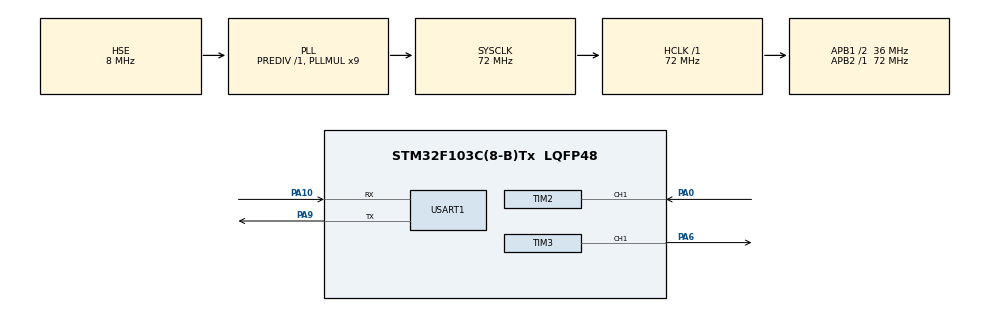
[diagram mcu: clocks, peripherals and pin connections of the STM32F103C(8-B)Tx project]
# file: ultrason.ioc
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Mcu.Family=STM32F1
Mcu.Name=STM32F103C(8-B)Tx
Mcu.Package=LQFP48
NVIC.PriorityGroup=NVIC_PRIORITYGROUP_4
NVIC.TIM2_IRQn=true\:0\:0\:false\:false\:true\:true\:true\:true
NVIC.USART1_IRQn=true\:0\:0\:false\:false\:true\:true\:true\:true
PA0-WKUP.Signal=S_TIM2_CH1_ETR
PA10.Mode=Asynchronous
PA10.Signal=USART1_RX
PA13.Mode=Serial_Wire
PA13.Signal=SYS_JTMS-SWDIO
PA14.Mode=Serial_Wire
PA14.Signal=SYS_JTCK-SWCLK
PA6.Signal=S_TIM3_CH1
PA9.Mode=Asynchronous
PA9.Signal=USART1_TX
PD0-OSC_IN.Mode=HSE-External-Oscillator
PD0-OSC_IN.Signal=RCC_OSC_IN
PD1-OSC_OUT.Mode=HSE-External-Oscillator
PD1-OSC_OUT.Signal=RCC_OSC_OUT
ProjectManager.HeapSize=0x200
ProjectManager.StackSize=0x400
ProjectManager.TargetToolchain=STM32CubeIDE
RCC.AHBFreq_Value=72000000
RCC.APB1CLKDivider=RCC_HCLK_DIV2
RCC.APB1Freq_Value=36000000
RCC.APB1TimFreq_Value=72000000
RCC.APB2Freq_Value=72000000
RCC.APB2TimFreq_Value=72000000
RCC.HCLKFreq_Value=72000000
RCC.PLLMUL=RCC_PLL_MUL9
RCC.PLLSourceVirtual=RCC_PLLSOURCE_HSE
RCC.SYSCLKFreq_VALUE=72000000
RCC.SYSCLKSource=RCC_SYSCLKSOURCE_PLLCLK
RCC.USBFreq_Value=72000000
SH.S_TIM2_CH1_ETR.0=TIM2_CH1,PWM_Input_1
SH.S_TIM3_CH1.0=TIM3_CH1,PWM Generation1 CH1
TIM2.Prescaler=71
TIM3.Channel-PWM\ Generation1\ CH1=TIM_CHANNEL_1
TIM3.Period=39999
TIM3.Prescaler=71
TIM3.Pulse-PWM\ Generation1\ CH1=10
USART1.VirtualMode=VM_ASYNC
VP_TIM2_VS_ClockSourceINT.Mode=Internal
VP_TIM3_VS_ClockSourceINT.Mode=Internal
board=custom

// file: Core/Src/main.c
/* USER CODE BEGIN Header */
/**
  ******************************************************************************
  * @file           : main.c
  * @brief          : Main program body
  ******************************************************************************
  * @attention
  *
  * Copyright (c) 2026 STMicroelectronics.
  * All rights reserved.
  *
  * This software is licensed under terms that can be found in the LICENSE file
  * in the root directory of this software component.
  * If no LICENSE file comes with this software, it is provided AS-IS.
  *
  ******************************************************************************
  */
/* USER CODE END Header */
#include "main.h"

/* USER CODE BEGIN Includes */
#include <stdio.h>
#include <string.h>
/* USER CODE END Includes */

TIM_HandleTypeDef htim2;
TIM_HandleTypeDef htim3;

UART_HandleTypeDef huart1;

/* USER CODE BEGIN PV */
#define US_TO_CM        (1.0f / 58.3f)   /* 343 m/s, round trip */
#define MIN_ECHO_US     116u             /* ~2 cm   */
#define MAX_ECHO_US     23300u           /* ~400 cm */

static volatile uint32_t echo_us = 0;
static volatile uint8_t  newData = 0;

static char txBuf[32];
/* USER CODE END PV */

void SystemClock_Config(void);
static void MX_GPIO_Init(void);
static void MX_TIM2_Init(void);
static void MX_TIM3_Init(void);
static void MX_USART1_UART_Init(void);

/* USER CODE BEGIN 0 */
/* Runs once per echo, on the falling edge (CH2). Keep it tiny. */
void HAL_TIM_IC_CaptureCallback(TIM_HandleTypeDef *htim)
{
    if (htim->Instance == TIM2 && htim->Channel == HAL_TIM_ACTIVE_CHANNEL_2)
    {
        echo_us = HAL_TIM_ReadCapturedValue(htim, TIM_CHANNEL_2); /* width in us */
        newData = 1;
    }
}
/* USER CODE END 0 */

int main(void)
{

  /* MCU Configuration--------------------------------------------------------*/

  /* Reset of all peripherals, Initializes the Flash interface and the Systick. */
  HAL_Init();

  /* Configure the system clock */
  SystemClock_Config();

  /* Initialize all configured peripherals */
  MX_GPIO_Init();
  MX_TIM2_Init();
  MX_TIM3_Init();
  MX_USART1_UART_Init();
  /* USER CODE BEGIN 2 */
  HAL_TIM_IC_Start(&htim2, TIM_CHANNEL_1);      /* rising edge, no interrupt   */
  HAL_TIM_IC_Start_IT(&htim2, TIM_CHANNEL_2);   /* falling edge, with interrupt */
  HAL_TIM_PWM_Start(&htim3, TIM_CHANNEL_1);     /* then hardware trigger        */
  /* USER CODE END 2 */

  /* Infinite loop */
  while (1)
  {

    /* USER CODE BEGIN 3 */
	  if (newData)
	     {
	         uint32_t us = echo_us;
	         newData = 0;

	         if (huart1.gState == HAL_UART_STATE_READY)   /* UART free? */
	         {
	             int len;
	             if (us >= MIN_ECHO_US && us <= MAX_ECHO_US) {
	                 float cm = (float)us * US_TO_CM;
	                 int whole = (int)cm;
	                 int frac  = (int)((cm - whole) * 10.0f);
	                 len = snprintf(txBuf, sizeof(txBuf),
	                                "Distance: %d.%d cm\r\n", whole, frac);
	             } else {
	                 len = snprintf(txBuf, sizeof(txBuf),
	                                "Distance: OUT OF RANGE\r\n");
	             }
	             HAL_UART_Transmit_IT(&huart1, (uint8_t *)txBuf, (uint16_t)len);
	         }
	     }
	     /* CPU is free for other tasks: never stuck waiting on the sensor */}
  /* USER CODE END 3 */
}

void SystemClock_Config(void)
{
  RCC_OscInitTypeDef RCC_OscInitStruct = {0};
  RCC_ClkInitTypeDef RCC_ClkInitStruct = {0};

  /** Initializes the RCC Oscillators according to the specified parameters
  * in the RCC_OscInitTypeDef structure.
  */
  RCC_OscInitStruct.OscillatorType = RCC_OSCILLATORTYPE_HSE;
  RCC_OscInitStruct.HSEState = RCC_HSE_ON;
  RCC_OscInitStruct.HSEPredivValue = RCC_HSE_PREDIV_DIV1;
  RCC_OscInitStruct.HSIState = RCC_HSI_ON;
  RCC_OscInitStruct.PLL.PLLState = RCC_PLL_ON;
  RCC_OscInitStruct.PLL.PLLSource = RCC_PLLSOURCE_HSE;
  RCC_OscInitStruct.PLL.PLLMUL = RCC_PLL_MUL9;
  if (HAL_RCC_OscConfig(&RCC_OscInitStruct) != HAL_OK)
  {
    Error_Handler();
  }

  /** Initializes the CPU, AHB and APB buses clocks
  */
  RCC_ClkInitStruct.ClockType = RCC_CLOCKTYPE_HCLK|RCC_CLOCKTYPE_SYSCLK
                              |RCC_CLOCKTYPE_PCLK1|RCC_CLOCKTYPE_PCLK2;
  RCC_ClkInitStruct.SYSCLKSource = RCC_SYSCLKSOURCE_PLLCLK;
  RCC_ClkInitStruct.AHBCLKDivider = RCC_SYSCLK_DIV1;
  RCC_ClkInitStruct.APB1CLKDivider = RCC_HCLK_DIV2;
  RCC_ClkInitStruct.APB2CLKDivider = RCC_HCLK_DIV1;

  if (HAL_RCC_ClockConfig(&RCC_ClkInitStruct, FLASH_LATENCY_2) != HAL_OK)
  {
    Error_Handler();
  }
}

static void MX_TIM2_Init(void)
{

  TIM_ClockConfigTypeDef sClockSourceConfig = {0};
  TIM_SlaveConfigTypeDef sSlaveConfig = {0};
  TIM_IC_InitTypeDef sConfigIC = {0};
  TIM_MasterConfigTypeDef sMasterConfig = {0};

  htim2.Instance = TIM2;
  htim2.Init.Prescaler = 71;
  htim2.Init.CounterMode = TIM_COUNTERMODE_UP;
  htim2.Init.Period = 65535;
  htim2.Init.ClockDivision = TIM_CLOCKDIVISION_DIV1;
  htim2.Init.AutoReloadPreload = TIM_AUTORELOAD_PRELOAD_DISABLE;
  if (HAL_TIM_Base_Init(&htim2) != HAL_OK)
  {
    Error_Handler();
  }
  sClockSourceConfig.ClockSource = TIM_CLOCKSOURCE_INTERNAL;
  if (HAL_TIM_ConfigClockSource(&htim2, &sClockSourceConfig) != HAL_OK)
  {
    Error_Handler();
  }
  if (HAL_TIM_IC_Init(&htim2) != HAL_OK)
  {
    Error_Handler();
  }
  sSlaveConfig.SlaveMode = TIM_SLAVEMODE_RESET;
  sSlaveConfig.InputTrigger = TIM_TS_TI1FP1;
  sSlaveConfig.TriggerPolarity = TIM_INPUTCHANNELPOLARITY_RISING;
  sSlaveConfig.TriggerPrescaler = TIM_ICPSC_DIV1;
  sSlaveConfig.TriggerFilter = 0;
  if (HAL_TIM_SlaveConfigSynchro(&htim2, &sSlaveConfig) != HAL_OK)
  {
    Error_Handler();
  }
  sConfigIC.ICPolarity = TIM_INPUTCHANNELPOLARITY_RISING;
  sConfigIC.ICSelection = TIM_ICSELECTION_DIRECTTI;
  sConfigIC.ICPrescaler = TIM_ICPSC_DIV1;
  sConfigIC.ICFilter = 0;
  if (HAL_TIM_IC_ConfigChannel(&htim2, &sConfigIC, TIM_CHANNEL_1) != HAL_OK)
  {
    Error_Handler();
  }
  sConfigIC.ICPolarity = TIM_INPUTCHANNELPOLARITY_FALLING;
  sConfigIC.ICSelection = TIM_ICSELECTION_INDIRECTTI;
  if (HAL_TIM_IC_ConfigChannel(&htim2, &sConfigIC, TIM_CHANNEL_2) != HAL_OK)
  {
    Error_Handler();
  }
  sMasterConfig.MasterOutputTrigger = TIM_TRGO_RESET;
  sMasterConfig.MasterSlaveMode = TIM_MASTERSLAVEMODE_DISABLE;
  if (HAL_TIMEx_MasterConfigSynchronization(&htim2, &sMasterConfig) != HAL_OK)
  {
    Error_Handler();
  }

}

static void MX_TIM3_Init(void)
{

  TIM_ClockConfigTypeDef sClockSourceConfig = {0};
  TIM_MasterConfigTypeDef sMasterConfig = {0};
  TIM_OC_InitTypeDef sConfigOC = {0};

  htim3.Instance = TIM3;
  htim3.Init.Prescaler = 71;
  htim3.Init.CounterMode = TIM_COUNTERMODE_UP;
  htim3.Init.Period = 39999;
  htim3.Init.ClockDivision = TIM_CLOCKDIVISION_DIV1;
  htim3.Init.AutoReloadPreload = TIM_AUTORELOAD_PRELOAD_DISABLE;
  if (HAL_TIM_Base_Init(&htim3) != HAL_OK)
  {
    Error_Handler();
  }
  sClockSourceConfig.ClockSource = TIM_CLOCKSOURCE_INTERNAL;
  if (HAL_TIM_ConfigClockSource(&htim3, &sClockSourceConfig) != HAL_OK)
  {
    Error_Handler();
  }
  if (HAL_TIM_PWM_Init(&htim3) != HAL_OK)
  {
    Error_Handler();
  }
  sMasterConfig.MasterOutputTrigger = TIM_TRGO_RESET;
  sMasterConfig.MasterSlaveMode = TIM_MASTERSLAVEMODE_DISABLE;
  if (HAL_TIMEx_MasterConfigSynchronization(&htim3, &sMasterConfig) != HAL_OK)
  {
    Error_Handler();
  }
  sConfigOC.OCMode = TIM_OCMODE_PWM1;
  sConfigOC.Pulse = 10;
  sConfigOC.OCPolarity = TIM_OCPOLARITY_HIGH;
  sConfigOC.OCFastMode = TIM_OCFAST_DISABLE;
  if (HAL_TIM_PWM_ConfigChannel(&htim3, &sConfigOC, TIM_CHANNEL_1) != HAL_OK)
  {
    Error_Handler();
  }
  HAL_TIM_MspPostInit(&htim3);

}

static void MX_USART1_UART_Init(void)
{

  huart1.Instance = USART1;
  huart1.Init.BaudRate = 115200;
  huart1.Init.WordLength = UART_WORDLENGTH_8B;
  huart1.Init.StopBits = UART_STOPBITS_1;
  huart1.Init.Parity = UART_PARITY_NONE;
  huart1.Init.Mode = UART_MODE_TX_RX;
  huart1.Init.HwFlowCtl = UART_HWCONTROL_NONE;
  huart1.Init.OverSampling = UART_OVERSAMPLING_16;
  if (HAL_UART_Init(&huart1) != HAL_OK)
  {
    Error_Handler();
  }

}

static void MX_GPIO_Init(void)
{

  /* GPIO Ports Clock Enable */
  __HAL_RCC_GPIOD_CLK_ENABLE();
  __HAL_RCC_GPIOA_CLK_ENABLE();

}

void Error_Handler(void)
{
  __disable_irq();
  while (1)
  {
  }
}
